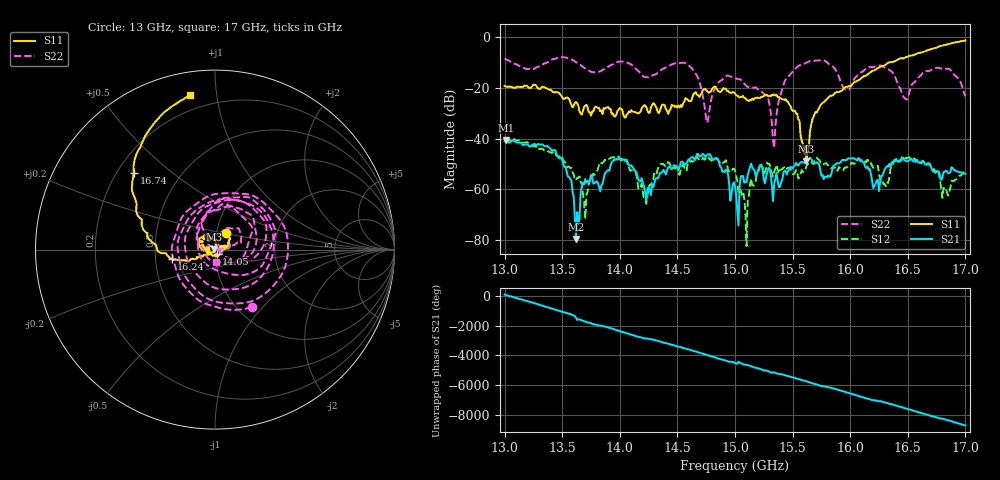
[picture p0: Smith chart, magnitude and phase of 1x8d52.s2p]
!Keysight Technologies,P9374A,MY57211807,A.19.30.04
!Date: Friday, May 08, 2026 15:21:32
!Correction: S11(C  2-Port  )
!S21(C  2-Port  )
!S12(C  2-Port  )
!S22(C  2-Port  )
!S2P File: Measurements: S11, S21, S12, S22:
# Hz S  dB  R 50
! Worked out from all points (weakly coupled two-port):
!   401 points, 13 GHz to 17 GHz, reference 50 ohm
!   highest |S21| = -40.50 dB at 13.01 GHz (marker M1); lowest = -79.6 dB at 13.62 GHz (marker M2)
!   lowest |S11| = -48.9 dB at 15.62 GHz (marker M3), VSWR 1.01, Z = 49.7 + j0.226 ohm
!   |S11| at or under -10 dB: start of sweep to 16.33 GHz
!   |S22| runs from -43.6 to -7.8 dB; largest |S21 - S12| = 0.0026
!   S11 on the Smith chart (normalised r, x): 13 GHz: 1.11, +0.21; 14.05 GHz: 1.02, -0.05; 16.24 GHz: 0.61, -0.07; 16.74 GHz: 0.27, +0.37; 17 GHz: 0.12, +0.85
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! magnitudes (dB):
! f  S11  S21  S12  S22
! 13 GHz  -19.1  -41.0  -40.4  -8.4
! 13.01 GHz  -19.3  -40.5  -40.0  -8.6
! 13.44 GHz  -21.7  -44.6  -45.6  -8.4
! 13.62 GHz  -25.5  -79.6  -56.4  -9.8
! 13.67 GHz  -30.5  -59.0  -58.0  -11.2
! 14.05 GHz  -31.6  -48.3  -48.4  -9.7
! 14.22 GHz  -26.9  -61.3  -64.2  -15.6
! 14.34 GHz  -29.9  -54.8  -50.8  -13.5
! 14.61 GHz  -25.2  -47.9  -49.1  -11.5
! 14.76 GHz  -21.2  -46.2  -46.8  -33.6
! 15 GHz  -22.2  -58.7  -52.4  -15.9
! 15.1 GHz  -24.6  -57.1  -82.4  -19.2
! 15.34 GHz  -22.5  -57.8  -53.0  -43.6
! 15.44 GHz  -24.3  -52.8  -50.8  -16.6
! 15.62 GHz  -48.9  -48.9  -50.7  -10.0
! 15.67 GHz  -32.7  -48.6  -49.7  -9.1
! 15.97 GHz  -19.5  -48.4  -51.4  -20.7
! 16.24 GHz  -12.1  -56.2  -50.6  -11.3
! 16.34 GHz  -9.8  -50.0  -55.2  -12.8
! 16.48 GHz  -7.9  -48.7  -47.5  -24.2
! 16.74 GHz  -4.1  -53.2  -53.5  -12.0
! 17 GHz  -1.2  -53.8  -53.6  -23.3
